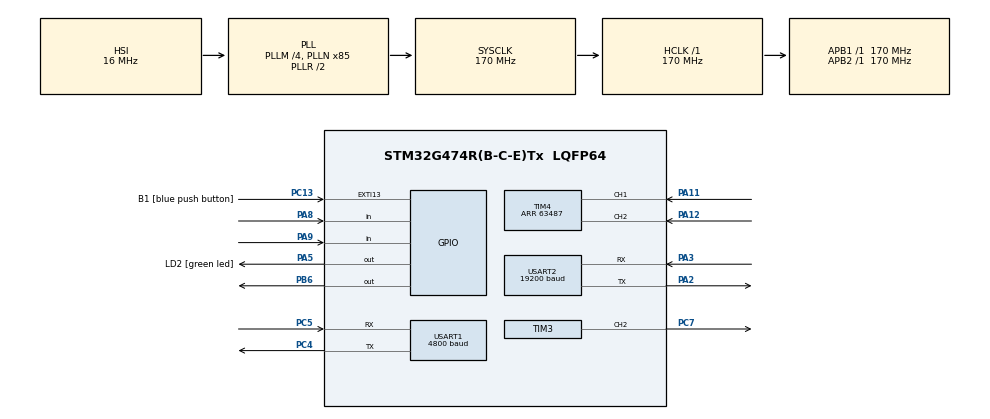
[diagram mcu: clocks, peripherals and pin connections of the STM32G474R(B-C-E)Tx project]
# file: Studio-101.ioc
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ARM.CMSIS-DSP.1.15.0.CMSISJjDSP=Source
ARM.CMSIS.6.0.0.CMSISJjCORE=true
Dma.Request0=USART2_TX
Dma.Request1=USART2_RX
Dma.Request2=USART1_RX
Dma.USART1_RX.2.Direction=DMA_PERIPH_TO_MEMORY
Dma.USART1_RX.2.EventEnable=DISABLE
Dma.USART1_RX.2.Instance=DMA1_Channel1
Dma.USART1_RX.2.MemDataAlignment=DMA_MDATAALIGN_BYTE
Dma.USART1_RX.2.MemInc=DMA_MINC_ENABLE
Dma.USART1_RX.2.Mode=DMA_CIRCULAR
Dma.USART1_RX.2.PeriphDataAlignment=DMA_PDATAALIGN_BYTE
Dma.USART1_RX.2.PeriphInc=DMA_PINC_DISABLE
Dma.USART1_RX.2.Polarity=HAL_DMAMUX_REQ_GEN_RISING
Dma.USART1_RX.2.Priority=DMA_PRIORITY_LOW
Dma.USART1_RX.2.RequestNumber=1
Dma.USART1_RX.2.SignalID=NONE
Dma.USART1_RX.2.SyncEnable=DISABLE
Dma.USART1_RX.2.SyncPolarity=HAL_DMAMUX_SYNC_NO_EVENT
Dma.USART1_RX.2.SyncRequestNumber=1
Dma.USART1_RX.2.SyncSignalID=NONE
Dma.USART2_RX.1.Direction=DMA_PERIPH_TO_MEMORY
Dma.USART2_RX.1.EventEnable=DISABLE
Dma.USART2_RX.1.Instance=DMA1_Channel3
Dma.USART2_RX.1.MemDataAlignment=DMA_MDATAALIGN_BYTE
Dma.USART2_RX.1.MemInc=DMA_MINC_ENABLE
Dma.USART2_RX.1.Mode=DMA_NORMAL
Dma.USART2_RX.1.PeriphDataAlignment=DMA_PDATAALIGN_BYTE
Dma.USART2_RX.1.PeriphInc=DMA_PINC_DISABLE
Dma.USART2_RX.1.Polarity=HAL_DMAMUX_REQ_GEN_RISING
Dma.USART2_RX.1.Priority=DMA_PRIORITY_LOW
Dma.USART2_RX.1.RequestNumber=1
Dma.USART2_RX.1.SignalID=NONE
Dma.USART2_RX.1.SyncEnable=DISABLE
Dma.USART2_RX.1.SyncPolarity=HAL_DMAMUX_SYNC_NO_EVENT
Dma.USART2_RX.1.SyncRequestNumber=1
Dma.USART2_RX.1.SyncSignalID=NONE
Dma.USART2_TX.0.Direction=DMA_MEMORY_TO_PERIPH
Dma.USART2_TX.0.EventEnable=DISABLE
Dma.USART2_TX.0.Instance=DMA1_Channel2
Dma.USART2_TX.0.MemDataAlignment=DMA_MDATAALIGN_BYTE
Dma.USART2_TX.0.MemInc=DMA_MINC_ENABLE
Dma.USART2_TX.0.Mode=DMA_NORMAL
Dma.USART2_TX.0.PeriphDataAlignment=DMA_PDATAALIGN_BYTE
Dma.USART2_TX.0.PeriphInc=DMA_PINC_DISABLE
Dma.USART2_TX.0.Polarity=HAL_DMAMUX_REQ_GEN_RISING
Dma.USART2_TX.0.Priority=DMA_PRIORITY_LOW
Dma.USART2_TX.0.RequestNumber=1
Dma.USART2_TX.0.SignalID=NONE
Dma.USART2_TX.0.SyncEnable=DISABLE
Dma.USART2_TX.0.SyncPolarity=HAL_DMAMUX_SYNC_NO_EVENT
Dma.USART2_TX.0.SyncRequestNumber=1
Dma.USART2_TX.0.SyncSignalID=NONE
Mcu.Family=STM32G4
Mcu.Name=STM32G474R(B-C-E)Tx
Mcu.Package=LQFP64
NVIC.DMA1_Channel1_IRQn=true\:0\:0\:false\:false\:true\:false\:true\:true
NVIC.DMA1_Channel2_IRQn=true\:0\:0\:false\:false\:true\:false\:true\:true
NVIC.DMA1_Channel3_IRQn=true\:0\:0\:false\:false\:true\:false\:true\:true
NVIC.EXTI15_10_IRQn=true\:0\:0\:false\:false\:true\:true\:true\:true
NVIC.PriorityGroup=NVIC_PRIORITYGROUP_4
NVIC.TIM1_UP_TIM16_IRQn=true\:0\:0\:false\:false\:true\:true\:true\:true
NVIC.TIM5_IRQn=true\:0\:0\:false\:false\:true\:true\:true\:true
NVIC.USART2_IRQn=true\:0\:0\:false\:false\:true\:true\:true\:true
PA11.Signal=S_TIM4_CH1
PA12.Signal=S_TIM4_CH2
PA13.GPIO_Label=T_SWDIO
PA13.Mode=Serial_Wire
PA13.Signal=SYS_JTMS-SWDIO
PA14.GPIO_Label=T_SWCLK
PA14.Mode=Serial_Wire
PA14.Signal=SYS_JTCK-SWCLK
PA2.Mode=Asynchronous
PA2.Signal=USART2_TX
PA3.Mode=Asynchronous
PA3.Signal=USART2_RX
PA5.GPIO_Label=LD2 [green led]
PA5.Signal=GPIO_Output
PA8.Signal=GPIO_Input
PA9.Signal=GPIO_Input
PB3.GPIO_Label=T_SWO
PB3.Signal=SYS_JTDO-SWO
PB6.Signal=GPIO_Output
PC13.GPIO_Label=B1 [blue push button]
PC13.Signal=GPXTI13
PC14-OSC32_IN.Mode=LSE-External-Oscillator
PC14-OSC32_IN.Signal=RCC_OSC32_IN
PC15-OSC32_OUT.Mode=LSE-External-Oscillator
PC15-OSC32_OUT.Signal=RCC_OSC32_OUT
PC4.Mode=Asynchronous
PC4.Signal=USART1_TX
PC5.Mode=Asynchronous
PC5.Signal=USART1_RX
PC7.Signal=S_TIM3_CH2
PF0-OSC_IN.Mode=HSE-External-Oscillator
PF0-OSC_IN.Signal=RCC_OSC_IN
PF1-OSC_OUT.Mode=HSE-External-Oscillator
PF1-OSC_OUT.Signal=RCC_OSC_OUT
ProjectManager.HeapSize=0x200
ProjectManager.StackSize=0x400
ProjectManager.TargetToolchain=STM32CubeIDE
RCC.ADC12Freq_Value=170000000
RCC.ADC345Freq_Value=170000000
RCC.AHBFreq_Value=170000000
RCC.APB1Freq_Value=170000000
RCC.APB1TimFreq_Value=170000000
RCC.APB2Freq_Value=170000000
RCC.APB2TimFreq_Value=170000000
RCC.CortexFreq_Value=170000000
RCC.EXTERNAL_CLOCK_VALUE=12288000
RCC.HCLKFreq_Value=170000000
RCC.HSE_VALUE=24000000
RCC.HSI48_VALUE=48000000
RCC.HSI_VALUE=16000000
RCC.PLLM=RCC_PLLM_DIV4
RCC.PLLN=85
RCC.RTCClockSelection=RCC_RTCCLKSOURCE_LSE
RCC.SYSCLKFreq_VALUE=170000000
RCC.SYSCLKSource=RCC_SYSCLKSOURCE_PLLCLK
RCC.USBFreq_Value=170000000
RCC.VCOOutputFreq_Value=340000000
SH.S_TIM3_CH2.0=TIM3_CH2,PWM Generation2 CH2
SH.S_TIM4_CH1.0=TIM4_CH1,Encoder_Interface
SH.S_TIM4_CH2.0=TIM4_CH2,Encoder_Interface
TIM16.PeriodNoDither=1145
TIM16.Prescaler=169
TIM2.PeriodNoDither=200000
TIM2.Prescaler=169
TIM3.Channel-PWM\ Generation2\ CH2=TIM_CHANNEL_2
TIM3.PeriodNoDither=999
TIM3.Prescaler=169
TIM4.EncoderMode=TIM_ENCODERMODE_TI12
TIM4.PeriodNoDither=63487
TIM5.Prescaler=169
USART1.BaudRate=4800
USART1.VirtualMode-Asynchronous=VM_ASYNC
USART2.BaudRate=19200
USART2.Parity=PARITY_EVEN
USART2.VirtualMode-Asynchronous=VM_ASYNC
USART2.WordLength=WORDLENGTH_9B
VP_ARM.CMSIS-DSP_VS_CMSISJjDSP_1.15.0_1.15.0.Mode=CMSISJjDSP
VP_ARM.CMSIS_VS_CMSISJjCORE_6.0.0_6.0.0.Mode=CMSISJjCORE
VP_SYS_VS_DBSignals.Mode=DisableDeadBatterySignals
VP_TIM16_VS_ClockSourceINT.Mode=Enable_Timer
VP_TIM16_VS_OPM.Mode=OPM_bit
VP_TIM2_VS_ClockSourceINT.Mode=Internal
VP_TIM3_VS_ClockSourceINT.Mode=Internal
VP_TIM5_VS_ClockSourceINT.Mode=Internal
board=NUCLEO-G474RE

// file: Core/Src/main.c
/* USER CODE BEGIN Header */
/**
  ******************************************************************************
  * @file           : main.c
  * @brief          : Main program body
  ******************************************************************************
  * @attention
  *
  * Copyright (c) 2024 STMicroelectronics.
  * All rights reserved.
  *
  * This software is licensed under terms that can be found in the LICENSE file
  * in the root directory of this software component.
  * If no LICENSE file comes with this software, it is provided AS-IS.
  *
  ******************************************************************************
  */
/* USER CODE END Header */
#include "main.h"

/* USER CODE BEGIN Includes */
#include "stdio.h"
#include "string.h"
#include "math.h"
#include "arm_math.h"
#include "ModBusRTU.h"
/* USER CODE END Includes */

TIM_HandleTypeDef htim2;
TIM_HandleTypeDef htim3;
TIM_HandleTypeDef htim4;
TIM_HandleTypeDef htim5;
TIM_HandleTypeDef htim16;

UART_HandleTypeDef huart1;
UART_HandleTypeDef huart2;
DMA_HandleTypeDef hdma_usart1_rx;
DMA_HandleTypeDef hdma_usart2_tx;
DMA_HandleTypeDef hdma_usart2_rx;

/* USER CODE BEGIN PV */
int debug =0;

//modbus
ModbusHandleTypedef hmodbus;
u16u8_t registerFrame[200];

int count=0;
int vaccum;
int gripper;

int home =0;
int point_mode = 0;
int setshelves_mode = 0;
int jog_mode = 0;
int place_order;
int pick_order;

//Joy
int x_floor[5] = {-1, -1, -1, -1, -1};
int z_floor[5] = {-1, -1, -1, -1, -1};
uint8_t RxBuffer[10];

//sensor
uint8_t sensor_up = 0;
uint8_t sensor_down = 0;

//Joy control
uint16_t z_target_position = 0;
uint16_t x_target_position = 0;

//for PID joy
arm_pid_instance_f32 PID = {0};
float setposition = 0; //target of PID
float Vfeedback = 0;
float Error;

//base system
int gotofloor;

//QEI
typedef struct
{
	// for record New / Old value to calculate dx / dt
	uint32_t Position[2];
	uint64_t TimeStamp[2];
	float QEIPostion_1turn;
	float QEIAngularVelocity;
}
QEI_StructureTypeDef;
QEI_StructureTypeDef QEIdata = {0};
uint64_t _micros = 0;
enum
{
	NEW,OLD
};
float velocity = 0;
float position = 0;
float angular_velocity;
float angular_position;
int position_round = 0;
int counter = 0;

//mode
int mode = 0;

//trajectory
float trajec_position;
float trajec_velocity;
float trajec_acceleration;
float trajec_target;
uint8_t trajec_state;
float p0;

//position PID
float position_Kp = 0;
float position_Ki = 0;
float position_Kd = 0;
float position_Ts = 0.005;
float position_PID_output = 0;

//velocity PID
float velocity_Kp = 0.008;
float velocity_Ki = 0.005;
float velocity_Kd = 0.00001;
float velocity_Ts = 0.001;
float velocity_PID_output = 0;
/* USER CODE END PV */

void SystemClock_Config(void);
static void MX_GPIO_Init(void);
static void MX_DMA_Init(void);
static void MX_TIM3_Init(void);
static void MX_USART1_UART_Init(void);
static void MX_TIM4_Init(void);
static void MX_TIM5_Init(void);
static void MX_USART2_UART_Init(void);
static void MX_TIM16_Init(void);
static void MX_TIM2_Init(void);
/* USER CODE BEGIN PFP */
//modbus
void set_shelves();
void set_goalpoint();
void run_pointmode();
void set_home();
void pick_place();
void run_jogmode();

//Joy
void UARTDMAConfig();
void update_position();

//Timer
uint64_t micros();

//QEI
void QEIEncoderPosVel_Update();

//Motor
void setMotor();

//trajectory
void trajectory();

//PID
void velocity_PID();
void position_PID();

//gripper
void push();
void pull();

//vacuum
void vacuum();
/* USER CODE END PFP */

int main(void)
{

  /* MCU Configuration--------------------------------------------------------*/

  /* Reset of all peripherals, Initializes the Flash interface and the Systick. */
  HAL_Init();

  /* Configure the system clock */
  SystemClock_Config();

  /* Initialize all configured peripherals */
  MX_GPIO_Init();
  MX_DMA_Init();
  MX_TIM3_Init();
  MX_USART1_UART_Init();
  MX_TIM4_Init();
  MX_TIM5_Init();
  MX_USART2_UART_Init();
  MX_TIM16_Init();
  MX_TIM2_Init();
  /* USER CODE BEGIN 2 */
  //modbus
  hmodbus.huart = &huart2;
  hmodbus.htim = &htim16;
  hmodbus.slaveAddress = 0x15;
  hmodbus.RegisterSize =200;
  Modbus_init(&hmodbus, registerFrame);

  //Joy
  UARTDMAConfig();

  //Motor
  HAL_TIM_Base_Start(&htim3);
  HAL_TIM_PWM_Start(&htim3, TIM_CHANNEL_2);
  HAL_GPIO_WritePin(GPIOB, GPIO_PIN_6,GPIO_PIN_RESET);

  //encoder
  HAL_TIM_Encoder_Start(&htim4,TIM_CHANNEL_ALL);
  HAL_TIM_Base_Start_IT(&htim5);

  //PID
//    PID.Kp = 0.34;
//    PID.Ki = 0.0000006;
//    PID.Kd = 0.0000001;
    PID.Kp = 0.478;
    PID.Ki = 0.0000006;
    PID.Kd = 0.0000000151;
    arm_pid_init_f32(&PID, 0);

  //Home
  while(1)
  {
	  sensor_up = HAL_GPIO_ReadPin(GPIOA, GPIO_PIN_9);
	  sensor_down = HAL_GPIO_ReadPin(GPIOA, GPIO_PIN_8);
	  registerFrame[0x00].U16=22881;
	  if(sensor_down == 0){
		  HAL_GPIO_WritePin(GPIOB, GPIO_PIN_6, 1);
		  __HAL_TIM_SET_COMPARE(&htim3, TIM_CHANNEL_2, 999*1.5/10.0);
	  }
	  else if(sensor_down == 1){
		  HAL_GPIO_WritePin(GPIOB, GPIO_PIN_6, 0);
		  __HAL_TIM_SET_COMPARE(&htim3, TIM_CHANNEL_2, 0);
		  __HAL_TIM_SET_COUNTER(&htim4, 0);
		  QEIdata.Position[NEW] = 0;
		  QEIEncoderPosVel_Update();
		  angular_position = 0.0;
		  position = 0.0;
		  position_round = 0;
		  z_target_position = 0;
		  x_target_position = 0;
		  break;
	  }
  }
  /* USER CODE END 2 */

  /* Infinite loop */
  while (1)
  {

    /* USER CODE BEGIN 3 */
	  sensor_up = HAL_GPIO_ReadPin(GPIOA, GPIO_PIN_9);
	  sensor_down = HAL_GPIO_ReadPin(GPIOA, GPIO_PIN_8);

	  static uint64_t timestamp_QEI = 0;
	  uint64_t currentTime = micros();
	  if(currentTime > timestamp_QEI)
	  {
		  timestamp_QEI = currentTime + 1000;//us
		  QEIEncoderPosVel_Update();
		  velocity = angular_velocity*14/2.0/M_PI;
	  }

	  Modbus_Protocal_Worker();
	  registerFrame[0x00].U16=22881;

	  set_shelves();
	  set_goalpoint();
	  run_pointmode();
	  set_home();
//	  pick_place();
	  run_jogmode();

//	  debug++;

//
//
//	  /*-------------------------go to mode-------------------------------*/
//
//	  if(mode == 3){
//		  if (gotofloor == 1){
//			  setposition = z_floor[0];
//		  }
//		  else if (gotofloor == 2){
//			  setposition = z_floor[1];
//		  }
//		  else if (gotofloor == 3){
//			  setposition = z_floor[2];
//		  }
//		  else if (gotofloor == 4){
//			  setposition = z_floor[3];
//		  }
//		  else if (gotofloor == 5){
//			  setposition = z_floor[4];
//		  }
//
//		  trajectory();
//
//
//		  static uint64_t timestamp_velocity_PID = 0;
//		  uint64_t currentTime = micros();
//		  if(currentTime > timestamp_velocity_PID)
//		  {
//			  timestamp_velocity_PID = currentTime + 1000;//us
//			  QEIEncoderPosVel_Update();
//			  velocity = angular_velocity*14/2.0/M_PI;
//			  if(fabsf(setposition-position) < 0.15){
//				  Vfeedback = 0;
//			  }
//			  else{
//				  velocity_PID();
//				  Vfeedback = velocity_PID_output;
//			  }
//			  setMotor();
//		  }
//
//		  static uint64_t timestamp_position_PID = 0;
//		  currentTime = micros();
//		  if(currentTime > timestamp_position_PID)
//		  {
//			  timestamp_position_PID = currentTime + 5000;//us
//			  position_PID();
//		  }
//	  }
//
//	  /*-------------------------jog mode-------------------------------*/
//
//	  else if(mode == 2){
//		  //Call every 0.1 s
//		  static uint64_t timestamp =0;
//		  int64_t currentTime = micros();
//		  if(currentTime > timestamp)
//		  {
//			  timestamp =currentTime + 100000;//us
//			  QEIEncoderPosVel_Update();
//		  }
//		  velocity = angular_velocity*14/2.0/M_PI;
//		  update_position();
//		  setposition = z_target_position;
//		  Error = setposition - position;
//		  Vfeedback = arm_pid_f32(&PID, Error);
//		  if (fabsf(Error) <= 0.1){
//			  Vfeedback = 0;
//		  }
//		  if(Vfeedback <= 4.3 && Vfeedback > 0){
//			  Vfeedback = 4.3;
//		  }
//		  if(Vfeedback >= -1.75 && Vfeedback < 0){
//			  Vfeedback = -1.78;
//		  }
//		  if(Vfeedback >= 24){
//			  Vfeedback = 24;
//		  }
//		  setMotor();
//	  }
//	  else if(mode == 1){
//		  //Call every 0.1 s
//		  static uint64_t timestamp =0;
//		  int64_t currentTime = micros();
//		  if(currentTime > timestamp)
//		  {
//			  timestamp =currentTime + 100000;//us
//			  QEIEncoderPosVel_Update();
//		  }
//		  velocity = angular_velocity*14/2.0/M_PI;
//
//		  update_position();
//		  if (gotofloor == 1){
//			setposition = z_floor[0];
//		  }
//		  else if (gotofloor == 2){
//			setposition = z_floor[1];
//		  }
//		  else if (gotofloor == 3){
//		  	setposition = z_floor[2];
//		  }
//		  else if (gotofloor == 4){
//		  	setposition = z_floor[3];
//		  }
//		  else if (gotofloor == 5){
//		  	setposition = z_floor[4];
//		  }
//
//
//		  Error = setposition - position;
//		  Vfeedback = arm_pid_f32(&PID, Error);
//		  if (fabsf(Error) <= 0.1){
//		  	Vfeedback = 0;
//		  }
//		  setMotor();
//	  }
//
//	  else if(mode == 0){
//		  //Call every 0.1 s
//		  		  static uint64_t timestamp =0;
//		  		  int64_t currentTime = micros();
//		  		  if(currentTime > timestamp)
//		  		  {
//		  			  timestamp =currentTime + 100000;//us
//		  			  QEIEncoderPosVel_Update();
//		  		  }
//		  HAL_GPIO_WritePin(GPIOB, GPIO_PIN_6, 0);
//		  __HAL_TIM_SET_COMPARE(&htim3, TIM_CHANNEL_2, 0);
//		  update_position();
//	  }

  }
  /* USER CODE END 3 */
}

void SystemClock_Config(void)
{
  RCC_OscInitTypeDef RCC_OscInitStruct = {0};
  RCC_ClkInitTypeDef RCC_ClkInitStruct = {0};

  /** Configure the main internal regulator output voltage
  */
  HAL_PWREx_ControlVoltageScaling(PWR_REGULATOR_VOLTAGE_SCALE1_BOOST);

  /** Initializes the RCC Oscillators according to the specified parameters
  * in the RCC_OscInitTypeDef structure.
  */
  RCC_OscInitStruct.OscillatorType = RCC_OSCILLATORTYPE_HSI;
  RCC_OscInitStruct.HSIState = RCC_HSI_ON;
  RCC_OscInitStruct.HSICalibrationValue = RCC_HSICALIBRATION_DEFAULT;
  RCC_OscInitStruct.PLL.PLLState = RCC_PLL_ON;
  RCC_OscInitStruct.PLL.PLLSource = RCC_PLLSOURCE_HSI;
  RCC_OscInitStruct.PLL.PLLM = RCC_PLLM_DIV4;
  RCC_OscInitStruct.PLL.PLLN = 85;
  RCC_OscInitStruct.PLL.PLLP = RCC_PLLP_DIV2;
  RCC_OscInitStruct.PLL.PLLQ = RCC_PLLQ_DIV2;
  RCC_OscInitStruct.PLL.PLLR = RCC_PLLR_DIV2;
  if (HAL_RCC_OscConfig(&RCC_OscInitStruct) != HAL_OK)
  {
    Error_Handler();
  }

  /** Initializes the CPU, AHB and APB buses clocks
  */
  RCC_ClkInitStruct.ClockType = RCC_CLOCKTYPE_HCLK|RCC_CLOCKTYPE_SYSCLK
                              |RCC_CLOCKTYPE_PCLK1|RCC_CLOCKTYPE_PCLK2;
  RCC_ClkInitStruct.SYSCLKSource = RCC_SYSCLKSOURCE_PLLCLK;
  RCC_ClkInitStruct.AHBCLKDivider = RCC_SYSCLK_DIV1;
  RCC_ClkInitStruct.APB1CLKDivider = RCC_HCLK_DIV1;
  RCC_ClkInitStruct.APB2CLKDivider = RCC_HCLK_DIV1;

  if (HAL_RCC_ClockConfig(&RCC_ClkInitStruct, FLASH_LATENCY_4) != HAL_OK)
  {
    Error_Handler();
  }
}

static void MX_TIM2_Init(void)
{

  TIM_ClockConfigTypeDef sClockSourceConfig = {0};
  TIM_MasterConfigTypeDef sMasterConfig = {0};

  htim2.Instance = TIM2;
  htim2.Init.Prescaler = 169;
  htim2.Init.CounterMode = TIM_COUNTERMODE_UP;
  htim2.Init.Period = 200000;
  htim2.Init.ClockDivision = TIM_CLOCKDIVISION_DIV1;
  htim2.Init.AutoReloadPreload = TIM_AUTORELOAD_PRELOAD_DISABLE;
  if (HAL_TIM_Base_Init(&htim2) != HAL_OK)
  {
    Error_Handler();
  }
  sClockSourceConfig.ClockSource = TIM_CLOCKSOURCE_INTERNAL;
  if (HAL_TIM_ConfigClockSource(&htim2, &sClockSourceConfig) != HAL_OK)
  {
    Error_Handler();
  }
  sMasterConfig.MasterOutputTrigger = TIM_TRGO_RESET;
  sMasterConfig.MasterSlaveMode = TIM_MASTERSLAVEMODE_DISABLE;
  if (HAL_TIMEx_MasterConfigSynchronization(&htim2, &sMasterConfig) != HAL_OK)
  {
    Error_Handler();
  }

}

static void MX_TIM3_Init(void)
{

  TIM_ClockConfigTypeDef sClockSourceConfig = {0};
  TIM_MasterConfigTypeDef sMasterConfig = {0};
  TIM_OC_InitTypeDef sConfigOC = {0};

  htim3.Instance = TIM3;
  htim3.Init.Prescaler = 169;
  htim3.Init.CounterMode = TIM_COUNTERMODE_UP;
  htim3.Init.Period = 999;
  htim3.Init.ClockDivision = TIM_CLOCKDIVISION_DIV1;
  htim3.Init.AutoReloadPreload = TIM_AUTORELOAD_PRELOAD_DISABLE;
  if (HAL_TIM_Base_Init(&htim3) != HAL_OK)
  {
    Error_Handler();
  }
  sClockSourceConfig.ClockSource = TIM_CLOCKSOURCE_INTERNAL;
  if (HAL_TIM_ConfigClockSource(&htim3, &sClockSourceConfig) != HAL_OK)
  {
    Error_Handler();
  }
  if (HAL_TIM_PWM_Init(&htim3) != HAL_OK)
  {
    Error_Handler();
  }
  sMasterConfig.MasterOutputTrigger = TIM_TRGO_RESET;
  sMasterConfig.MasterSlaveMode = TIM_MASTERSLAVEMODE_DISABLE;
  if (HAL_TIMEx_MasterConfigSynchronization(&htim3, &sMasterConfig) != HAL_OK)
  {
    Error_Handler();
  }
  sConfigOC.OCMode = TIM_OCMODE_PWM1;
  sConfigOC.Pulse = 0;
  sConfigOC.OCPolarity = TIM_OCPOLARITY_HIGH;
  sConfigOC.OCFastMode = TIM_OCFAST_DISABLE;
  if (HAL_TIM_PWM_ConfigChannel(&htim3, &sConfigOC, TIM_CHANNEL_2) != HAL_OK)
  {
    Error_Handler();
  }
  HAL_TIM_MspPostInit(&htim3);

}

static void MX_TIM4_Init(void)
{

  TIM_Encoder_InitTypeDef sConfig = {0};
  TIM_MasterConfigTypeDef sMasterConfig = {0};

  htim4.Instance = TIM4;
  htim4.Init.Prescaler = 0;
  htim4.Init.CounterMode = TIM_COUNTERMODE_UP;
  htim4.Init.Period = 63487;
  htim4.Init.ClockDivision = TIM_CLOCKDIVISION_DIV1;
  htim4.Init.AutoReloadPreload = TIM_AUTORELOAD_PRELOAD_DISABLE;
  sConfig.EncoderMode = TIM_ENCODERMODE_TI12;
  sConfig.IC1Polarity = TIM_ICPOLARITY_RISING;
  sConfig.IC1Selection = TIM_ICSELECTION_DIRECTTI;
  sConfig.IC1Prescaler = TIM_ICPSC_DIV1;
  sConfig.IC1Filter = 0;
  sConfig.IC2Polarity = TIM_ICPOLARITY_RISING;
  sConfig.IC2Selection = TIM_ICSELECTION_DIRECTTI;
  sConfig.IC2Prescaler = TIM_ICPSC_DIV1;
  sConfig.IC2Filter = 0;
  if (HAL_TIM_Encoder_Init(&htim4, &sConfig) != HAL_OK)
  {
    Error_Handler();
  }
  sMasterConfig.MasterOutputTrigger = TIM_TRGO_RESET;
  sMasterConfig.MasterSlaveMode = TIM_MASTERSLAVEMODE_DISABLE;
  if (HAL_TIMEx_MasterConfigSynchronization(&htim4, &sMasterConfig) != HAL_OK)
  {
    Error_Handler();
  }

}

static void MX_TIM5_Init(void)
{

  TIM_ClockConfigTypeDef sClockSourceConfig = {0};
  TIM_MasterConfigTypeDef sMasterConfig = {0};

  htim5.Instance = TIM5;
  htim5.Init.Prescaler = 169;
  htim5.Init.CounterMode = TIM_COUNTERMODE_UP;
  htim5.Init.Period = 4294967295;
  htim5.Init.ClockDivision = TIM_CLOCKDIVISION_DIV1;
  htim5.Init.AutoReloadPreload = TIM_AUTORELOAD_PRELOAD_DISABLE;
  if (HAL_TIM_Base_Init(&htim5) != HAL_OK)
  {
    Error_Handler();
  }
  sClockSourceConfig.ClockSource = TIM_CLOCKSOURCE_INTERNAL;
  if (HAL_TIM_ConfigClockSource(&htim5, &sClockSourceConfig) != HAL_OK)
  {
    Error_Handler();
  }
  sMasterConfig.MasterOutputTrigger = TIM_TRGO_RESET;
  sMasterConfig.MasterSlaveMode = TIM_MASTERSLAVEMODE_DISABLE;
  if (HAL_TIMEx_MasterConfigSynchronization(&htim5, &sMasterConfig) != HAL_OK)
  {
    Error_Handler();
  }

}

static void MX_TIM16_Init(void)
{

  htim16.Instance = TIM16;
  htim16.Init.Prescaler = 169;
  htim16.Init.CounterMode = TIM_COUNTERMODE_UP;
  htim16.Init.Period = 1145;
  htim16.Init.ClockDivision = TIM_CLOCKDIVISION_DIV1;
  htim16.Init.RepetitionCounter = 0;
  htim16.Init.AutoReloadPreload = TIM_AUTORELOAD_PRELOAD_DISABLE;
  if (HAL_TIM_Base_Init(&htim16) != HAL_OK)
  {
    Error_Handler();
  }
  if (HAL_TIM_OnePulse_Init(&htim16, TIM_OPMODE_SINGLE) != HAL_OK)
  {
    Error_Handler();
  }

}

static void MX_USART1_UART_Init(void)
{

  huart1.Instance = USART1;
  huart1.Init.BaudRate = 4800;
  huart1.Init.WordLength = UART_WORDLENGTH_8B;
  huart1.Init.StopBits = UART_STOPBITS_1;
  huart1.Init.Parity = UART_PARITY_NONE;
  huart1.Init.Mode = UART_MODE_TX_RX;
  huart1.Init.HwFlowCtl = UART_HWCONTROL_NONE;
  huart1.Init.OverSampling = UART_OVERSAMPLING_16;
  huart1.Init.OneBitSampling = UART_ONE_BIT_SAMPLE_DISABLE;
  huart1.Init.ClockPrescaler = UART_PRESCALER_DIV1;
  huart1.AdvancedInit.AdvFeatureInit = UART_ADVFEATURE_NO_INIT;
  if (HAL_UART_Init(&huart1) != HAL_OK)
  {
    Error_Handler();
  }
  if (HAL_UARTEx_SetTxFifoThreshold(&huart1, UART_TXFIFO_THRESHOLD_1_8) != HAL_OK)
  {
    Error_Handler();
  }
  if (HAL_UARTEx_SetRxFifoThreshold(&huart1, UART_RXFIFO_THRESHOLD_1_8) != HAL_OK)
  {
    Error_Handler();
  }
  if (HAL_UARTEx_DisableFifoMode(&huart1) != HAL_OK)
  {
    Error_Handler();
  }

}

static void MX_USART2_UART_Init(void)
{

  huart2.Instance = USART2;
  huart2.Init.BaudRate = 19200;
  huart2.Init.WordLength = UART_WORDLENGTH_9B;
  huart2.Init.StopBits = UART_STOPBITS_1;
  huart2.Init.Parity = UART_PARITY_EVEN;
  huart2.Init.Mode = UART_MODE_TX_RX;
  huart2.Init.HwFlowCtl = UART_HWCONTROL_NONE;
  huart2.Init.OverSampling = UART_OVERSAMPLING_16;
  huart2.Init.OneBitSampling = UART_ONE_BIT_SAMPLE_DISABLE;
  huart2.Init.ClockPrescaler = UART_PRESCALER_DIV1;
  huart2.AdvancedInit.AdvFeatureInit = UART_ADVFEATURE_NO_INIT;
  if (HAL_UART_Init(&huart2) != HAL_OK)
  {
    Error_Handler();
  }
  if (HAL_UARTEx_SetTxFifoThreshold(&huart2, UART_TXFIFO_THRESHOLD_1_8) != HAL_OK)
  {
    Error_Handler();
  }
  if (HAL_UARTEx_SetRxFifoThreshold(&huart2, UART_RXFIFO_THRESHOLD_1_8) != HAL_OK)
  {
    Error_Handler();
  }
  if (HAL_UARTEx_DisableFifoMode(&huart2) != HAL_OK)
  {
    Error_Handler();
  }

}

static void MX_DMA_Init(void)
{

  /* DMA controller clock enable */
  __HAL_RCC_DMAMUX1_CLK_ENABLE();
  __HAL_RCC_DMA1_CLK_ENABLE();

  /* DMA interrupt init */
  /* DMA1_Channel1_IRQn interrupt configuration */
  HAL_NVIC_SetPriority(DMA1_Channel1_IRQn, 0, 0);
  HAL_NVIC_EnableIRQ(DMA1_Channel1_IRQn);
  /* DMA1_Channel2_IRQn interrupt configuration */
  HAL_NVIC_SetPriority(DMA1_Channel2_IRQn, 0, 0);
  HAL_NVIC_EnableIRQ(DMA1_Channel2_IRQn);
  /* DMA1_Channel3_IRQn interrupt configuration */
  HAL_NVIC_SetPriority(DMA1_Channel3_IRQn, 0, 0);
  HAL_NVIC_EnableIRQ(DMA1_Channel3_IRQn);

}

static void MX_GPIO_Init(void)
{
  GPIO_InitTypeDef GPIO_InitStruct = {0};

  /* GPIO Ports Clock Enable */
  __HAL_RCC_GPIOC_CLK_ENABLE();
  __HAL_RCC_GPIOF_CLK_ENABLE();
  __HAL_RCC_GPIOA_CLK_ENABLE();
  __HAL_RCC_GPIOB_CLK_ENABLE();

  /*Configure GPIO pin Output Level */
  HAL_GPIO_WritePin(LD2_GPIO_Port, LD2_Pin, GPIO_PIN_RESET);

  /*Configure GPIO pin Output Level */
  HAL_GPIO_WritePin(GPIOB, GPIO_PIN_6, GPIO_PIN_RESET);

  /*Configure GPIO pin : B1_Pin */
  GPIO_InitStruct.Pin = B1_Pin;
  GPIO_InitStruct.Mode = GPIO_MODE_IT_RISING;
  GPIO_InitStruct.Pull = GPIO_NOPULL;
  HAL_GPIO_Init(B1_GPIO_Port, &GPIO_InitStruct);

  /*Configure GPIO pin : LD2_Pin */
  GPIO_InitStruct.Pin = LD2_Pin;
  GPIO_InitStruct.Mode = GPIO_MODE_OUTPUT_PP;
  GPIO_InitStruct.Pull = GPIO_NOPULL;
  GPIO_InitStruct.Speed = GPIO_SPEED_FREQ_LOW;
  HAL_GPIO_Init(LD2_GPIO_Port, &GPIO_InitStruct);

  /*Configure GPIO pins : PA8 PA9 */
  GPIO_InitStruct.Pin = GPIO_PIN_8|GPIO_PIN_9;
  GPIO_InitStruct.Mode = GPIO_MODE_INPUT;
  GPIO_InitStruct.Pull = GPIO_NOPULL;
  HAL_GPIO_Init(GPIOA, &GPIO_InitStruct);

  /*Configure GPIO pin : PB6 */
  GPIO_InitStruct.Pin = GPIO_PIN_6;
  GPIO_InitStruct.Mode = GPIO_MODE_OUTPUT_PP;
  GPIO_InitStruct.Pull = GPIO_NOPULL;
  GPIO_InitStruct.Speed = GPIO_SPEED_FREQ_LOW;
  HAL_GPIO_Init(GPIOB, &GPIO_InitStruct);

  /* EXTI interrupt init*/
  HAL_NVIC_SetPriority(EXTI15_10_IRQn, 0, 0);
  HAL_NVIC_EnableIRQ(EXTI15_10_IRQn);

}

/* USER CODE BEGIN 4 */
void set_shelves(){
	registerFrame[0x00].U16=22881;
	if(registerFrame[0x01].U16==0b0001){
		registerFrame[0x01].U16=0b0000;
		registerFrame[0x10].U16=0b0001; //z-axis Moving Status
		setshelves_mode = 1;
	}
	if(setshelves_mode == 1){
		//Call every 0.1 s
		registerFrame[0x00].U16=22881;
		static uint64_t timestamp = 0;
		int64_t currentTime = micros();
		if(currentTime > timestamp)
		{
			timestamp =currentTime + 100000;//us
			QEIEncoderPosVel_Update();
		}
		velocity = angular_velocity*14/2.0/M_PI;
		update_position();
		setposition = z_target_position;
		Error = setposition - position;
		Vfeedback = arm_pid_f32(&PID, Error);
		if (fabsf(Error) <= 0.1){
			Vfeedback = 0;
		}
		if(Vfeedback <= 4.3 && Vfeedback > 0){
			Vfeedback = 4.3;
		}
		if(Vfeedback >= -1.75 && Vfeedback < 0){
			Vfeedback = -1.78;
		}
		if(Vfeedback >= 24){
			Vfeedback = 24;
		}
		setMotor();
		if(z_floor[0] != -1 && z_floor[1] != -1 && z_floor[2] != -1 && z_floor[3] != -1 && z_floor[4] != -1){
			registerFrame[0x23].U16 = z_floor[0];
			registerFrame[0x24].U16 = z_floor[1];
			registerFrame[0x25].U16 = z_floor[2];
			registerFrame[0x26].U16 = z_floor[3];
			registerFrame[0x27].U16 = z_floor[4];
			setshelves_mode = 0;
			registerFrame[0x10].U16=0b0000;
		}
	}
}
void set_goalpoint(){
	//goal point z
}
void run_pointmode(){
	if(registerFrame[0x01].U16==0b1000){
		registerFrame[0x01].U16=0b0000;
		registerFrame[0x10].U16=0b00010000; //Go point
		setposition = (registerFrame[0x30].U16)/10.0;
		point_mode = 1;
	}
	if(point_mode == 1){
		trajectory();
			static uint64_t timestamp_velocity_PID = 0;
			uint64_t currentTime = micros();
			if(currentTime > timestamp_velocity_PID)
			{
				if(fabsf(setposition-position) > 0.01){
					timestamp_velocity_PID = currentTime + 1000;//us
					velocity_PID();
					Vfeedback = velocity_PID_output;
					setMotor();
				}
				else{
					velocity_PID_output = 0;
					Vfeedback = 0;
					setMotor();
					registerFrame[0x10].U16=0b0000;
					point_mode = 0;
				}
			}

			static uint64_t timestamp_position_PID = 0;
			currentTime = micros();
			if(currentTime > timestamp_position_PID)
			{
				timestamp_position_PID = currentTime + 5000;//us
				position_PID();
			}
	}
}

void set_home(){
	static uint8_t step = 0;
	if(registerFrame[0x01].U16==0b0010){
		registerFrame[0x01].U16=0b0000;
		registerFrame[0x10].U16=0b0010;
		home = 1;
		step = 0;
		if(sensor_down == 1){
			HAL_GPIO_WritePin(GPIOB, GPIO_PIN_6, 0);
			__HAL_TIM_SET_COMPARE(&htim3, TIM_CHANNEL_2, 999*1.5/10.0);
		}

	}
	if(home == 1){
		registerFrame[0x00].U16=22881;
		sensor_up = HAL_GPIO_ReadPin(GPIOA, GPIO_PIN_9);
		sensor_down = HAL_GPIO_ReadPin(GPIOA, GPIO_PIN_8);

		if(step == 0){
			if(sensor_up == 0){
				HAL_GPIO_WritePin(GPIOB, GPIO_PIN_6, 0);
				__HAL_TIM_SET_COMPARE(&htim3, TIM_CHANNEL_2, 999*3/10.0);
			}
			else if(sensor_up == 1){
				HAL_GPIO_WritePin(GPIOB, GPIO_PIN_6, 1);
				__HAL_TIM_SET_COMPARE(&htim3, TIM_CHANNEL_2, 0);
				step = 1;
			}
		}
		if(step == 1){
			if(sensor_down == 0){
				HAL_GPIO_WritePin(GPIOB, GPIO_PIN_6, 1);
				__HAL_TIM_SET_COMPARE(&htim3, TIM_CHANNEL_2, 999*1.5/10.0);
			}
			else if(sensor_down == 1){
				HAL_GPIO_WritePin(GPIOB, GPIO_PIN_6, 0);
				__HAL_TIM_SET_COMPARE(&htim3, TIM_CHANNEL_2, 0);
				__HAL_TIM_SET_COUNTER(&htim4, 0);
				QEIdata.Position[NEW] = 0;
				QEIEncoderPosVel_Update();
				angular_position = 0.0;
				position = 0.0;
				position_round = 0;
				registerFrame[0x10].U16=0b0000;
				home = 0;
			}
		}
	}
}

void run_jogmode(){
	static int floor_counter = 0;
	if(registerFrame[0x01].U16==0b0100){
		jog_mode = 1;
		pick_order = registerFrame[0x21].U16;
		place_order = registerFrame[0x22].U16;
		floor_counter = 0;
	}
	if(jog_mode == 1){
		if(floor_counter%2 == 0){
			registerFrame[0x10].U16=0b0100;//Go Pick
			gotofloor = pick_order%(int)pow(10,(floor_counter/2));
		}
		else{
			registerFrame[0x10].U16=0b1000;//Go place
			gotofloor = place_order%(int)pow(10,((floor_counter-1)/2));
		}
	  if (gotofloor == 1){
		  setposition = z_floor[0];
	  }
	  else if (gotofloor == 2){
		  setposition = z_floor[1];
	  }
	  else if (gotofloor == 3){
		  setposition = z_floor[2];
	  }
	  else if (gotofloor == 4){
		  setposition = z_floor[3];
	  }
	  else if (gotofloor == 5){
		  setposition = z_floor[4];
	  }

	  trajectory();

	  static uint64_t timestamp_velocity_PID = 0;
	  uint64_t currentTime = micros();
	  if(currentTime > timestamp_velocity_PID)
	  {
		  timestamp_velocity_PID = currentTime + 1000;//us
		  QEIEncoderPosVel_Update();
		  velocity = angular_velocity*14/2.0/M_PI;
		  if(fabsf(setposition-position) < 0.15){
			  Vfeedback = 0;
		  }
		  else{
			  velocity_PID();
			  Vfeedback = velocity_PID_output;
		  }
		  setMotor();
	  }

	  static uint64_t timestamp_position_PID = 0;
	  currentTime = micros();
	  if(currentTime > timestamp_position_PID)
	  {
		  timestamp_position_PID = currentTime + 5000;//us
		  position_PID();
	  }
	  if(fabsf(setposition-position) < 0.15){
		  static uint64_t timestamp_gripper = 0;
		  uint64_t currentTime = micros();
		  static uint8_t time_counter = 0;
		  if(currentTime > timestamp_gripper){
			  timestamp_gripper = micros()+2000000;
			  if(time_counter == 0){
				  time_counter = 1;
			  }
			  else{
				  floor_counter++;
				  time_counter = 0;
			  }
		  }
	  }
	}
	if(floor_counter > 9){
		registerFrame[0x10].U16=0b0000;
		floor_counter = 0;
	}
}

void setMotor()
{

	if(Vfeedback > 24){
		registerFrame[0x00].U16=22881;
		Vfeedback = 24;
	}
	else if(Vfeedback < -24){
		registerFrame[0x00].U16=22881;
		Vfeedback = -24;
	}
	if(Vfeedback > 0){
		registerFrame[0x00].U16=22881;
		HAL_GPIO_WritePin(GPIOB, GPIO_PIN_6,GPIO_PIN_RESET);
		__HAL_TIM_SET_COMPARE(&htim3, TIM_CHANNEL_2, (int)Vfeedback*999/24.0);
	}
	else{
		registerFrame[0x00].U16=22881;
		HAL_GPIO_WritePin(GPIOB, GPIO_PIN_6,GPIO_PIN_SET);
		__HAL_TIM_SET_COMPARE(&htim3, TIM_CHANNEL_2, (int)Vfeedback*(-999)/24.0);
	}
}

void HAL_UART_RxCpltCallback(UART_HandleTypeDef *huart)
{
	if(huart == &huart1)
		{
			//(for string only) Add string stop symbol \0 to end string
			RxBuffer[9] = '\0';
		}
}

void UARTDMAConfig()
{
	//start UART in DMA mode
	HAL_UART_Receive_DMA(&huart1, RxBuffer,9);
}

void update_position()
{
	static int floor = -1;
	floor = RxBuffer[6]-'0'-1;
	x_target_position = (RxBuffer[0]-'0')*100+(RxBuffer[1]-'0')*10+(RxBuffer[2]-'0');
	z_target_position = (RxBuffer[3]-'0')*100+(RxBuffer[4]-'0')*10+(RxBuffer[5]-'0');
	if(floor >= 0){
		x_floor[floor] = x_target_position;
		z_floor[floor] = z_target_position;
	}
}

//MicroSecondTimer Implement
void HAL_TIM_PeriodElapsedCallback(TIM_HandleTypeDef *htim)
{
	if(htim == &htim5)
	{
		_micros += UINT32_MAX;
	}
}

uint64_t micros()
{
	return __HAL_TIM_GET_COUNTER(&htim5)+_micros;
}

void QEIEncoderPosVel_Update()
{
	//collect data
	QEIdata.TimeStamp[NEW] = micros();
	QEIdata.Position[NEW] = __HAL_TIM_GET_COUNTER(&htim4);
	//Postion 1 turn calculation
	QEIdata.QEIPostion_1turn = QEIdata.Position[NEW] % 2048;
	//calculate dx
	int32_t diffPosition = QEIdata.Position[NEW] - QEIdata.Position[OLD];
	//Handle Warp around
	if(diffPosition > 31744){
		diffPosition -=63488;
		counter--;
	}
	if(diffPosition < -31744){
		diffPosition +=63488;
		counter++;
	}
	//calculate dt
	float diffTime = (QEIdata.TimeStamp[NEW]-QEIdata.TimeStamp[OLD]) * 0.000001;
	//calculate anglar velocity
	QEIdata.QEIAngularVelocity = diffPosition / diffTime;

	angular_velocity = QEIdata.QEIAngularVelocity/2048.0*2*M_PI;
	angular_position = (QEIdata.Position[NEW]%2048)/2048.0*2*M_PI;
	position_round = (counter*31)+(int)(QEIdata.Position[NEW]/2048.0);
	position = ((angular_position)/(2.0*M_PI)*14)+(14*position_round);
	//store value for next loop
	QEIdata.Position[OLD] = QEIdata.Position[NEW];
	QEIdata.TimeStamp[OLD]=QEIdata.TimeStamp[NEW];

}

void trajectory(){
	static uint32_t Timestamp;
	if(trajec_target != 0 && trajec_state == 0){
		trajec_state = 1;
		Timestamp = HAL_GetTick();
	}
	else if(trajec_state == 1 && trajec_target >= 0){
		float t = ((HAL_GetTick() - Timestamp)*0.001)+0.001;
		float time = (-100 + sqrt(10000 + (2000*trajec_target)))/1000;
		if(HAL_GetTick() - Timestamp <= (time*1000)){
			trajec_acceleration = 500.0;
			trajec_velocity = 500*t;
			trajec_position = (250*t*t)+p0;
		}
		else if(HAL_GetTick() - Timestamp <= ((time+0.2)*1000)){
			trajec_acceleration = 0;
			trajec_velocity = 500*time;
			trajec_position = ((500*time*(t-time))+(250*time*time))+p0;
		}
		else if(HAL_GetTick() - Timestamp <= (((time*2)+0.2)*1000)){
			trajec_acceleration = -500.0;
			trajec_velocity = (-500*(t-time-0.2))+(500*time);
			trajec_position = ((-250*(t-time-0.2)*(t-time-0.2))+(500*time*(t-time-0.2))+(250*time*time)+(100*time))+p0;
		}
		else{
			trajec_acceleration = 0;
			trajec_velocity = 0;
//			trajec_position = 0;
			trajec_target = 0;
			trajec_state = 0;
		}
	}
	else if(trajec_state == 1 && trajec_target < 0){
		float t = ((HAL_GetTick() - Timestamp)*0.001+0.001);
		float time = (-100 + sqrt(10000 + (-2000*trajec_target)))/1000;
		if(HAL_GetTick() - Timestamp <= (time*1000)){
			trajec_acceleration = -500.0;
			trajec_velocity = (500*t)*-1;
			trajec_position = ((250*t*t)*-1)+p0;
		}
		else if(HAL_GetTick() - Timestamp <= ((time+0.2)*1000)){
			trajec_acceleration = 0;
			trajec_velocity = (500*time)*-1;
			trajec_position = (((500*time*(t-time))+(250*time*time))*-1)+p0;
		}
		else if(HAL_GetTick() - Timestamp <= (((time*2)+0.2)*1000)){
			trajec_acceleration = 500.0;
			trajec_velocity = ((-500*(t-time-0.2))+(500*time))*-1;
			trajec_position = (((-250*(t-time-0.2)*(t-time-0.2))+(500*time*(t-time-0.2))+(250*time*time)+(100*time))*-1)+p0;
		}
		else{
			trajec_acceleration = 0;
			trajec_velocity = 0;
//			trajec_position = 0;
			trajec_target = 0;
			trajec_state = 0;
		}
	}
	else if(trajec_state == 0 && trajec_target == 0){
		trajec_target = setposition-position;
		p0 = position;
	}
}

void velocity_PID(){
	static float u_n;
	static float u_n1 = 0;
	static float u_n2 = 0;
	static float y_n;
	static float y_n1 = 0;
	float one = (2*velocity_Ts*velocity_Kp)+(velocity_Ki*velocity_Ts*velocity_Ts)+(2*velocity_Kd);
	float two = (-2*velocity_Ts*velocity_Kp)+(velocity_Ki*velocity_Ts*velocity_Ts)-(4*velocity_Kd);
	float three = 2*velocity_Kd;
	float four = 2*velocity_Ts;
	u_n = trajec_velocity + position_PID_output - velocity;
	y_n = ((one*u_n)+(two*u_n1)+(three*u_n2)+(four*y_n1))/four;

	velocity_PID_output += y_n;
	u_n2 = u_n1;
	u_n1 = u_n;
	y_n1 = y_n;
}

void position_PID(){
	static float u_n;
	static float u_n1 = 0;
	static float u_n2 = 0;
	static float y_n;
	static float y_n1 = 0;
	float one = (2*position_Ts*position_Kp)+(position_Ki*position_Ts*position_Ts)+(2*position_Kd);
	float two = (-2*position_Ts*position_Kp)+(position_Ki*position_Ts*position_Ts)-(4*position_Kd);
	float three = 2*position_Kd;
	float four = 2*position_Ts;
	u_n = trajec_position - position;
	y_n = ((one*u_n)+(two*u_n1)+(three*u_n2)+(four*y_n1))/four;

	position_PID_output += y_n;
	u_n2 = u_n1;
	u_n1 = u_n;
	y_n1 = y_n;
}
void push(){
	HAL_GPIO_WritePin(GPIOB, GPIO_PIN_10,GPIO_PIN_RESET);
	HAL_GPIO_WritePin(GPIOB, GPIO_PIN_4,GPIO_PIN_SET);
}
void pull(){
	HAL_GPIO_WritePin(GPIOB, GPIO_PIN_10,GPIO_PIN_SET);
	HAL_GPIO_WritePin(GPIOB, GPIO_PIN_4,GPIO_PIN_RESET);
}
void vacuum(){

}

/* USER CODE END 4 */

void Error_Handler(void)
{
  __disable_irq();
  while (1)
  {
  }
}
